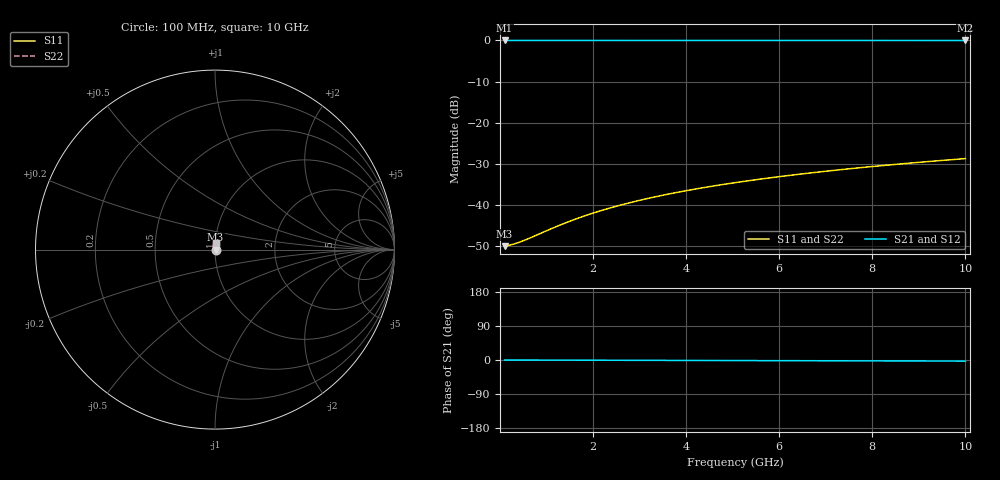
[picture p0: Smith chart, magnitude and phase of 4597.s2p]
# Hz S RI R 50.00
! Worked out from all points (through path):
!   100 points, 100 MHz to 10 GHz, reference 50 ohm
!   highest |S21| = -0.03 dB at 100 MHz (marker M1); lowest = 0.0 dB at 10 GHz (marker M2)
!   lowest |S11| = -49.9 dB at 100 MHz (marker M3), VSWR 1.01, Z = 50.3 + j0.0366 ohm
!   |S11| at or under -10 dB: start of sweep to end of sweep
!   |S22| runs from -49.9 to -28.7 dB; largest |S21 - S12| = 0
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1e8  0.00316 0.000364  0.9968 -0.000506  0.9968 -0.000506  0.00316 0.000364
2e8  0.00318 0.000727  0.9968 -0.00101  0.9968 -0.00101  0.00318 0.000727
3e8  0.0032 0.00109  0.9968 -0.00152  0.9968 -0.00152  0.0032 0.00109
4e8  0.00321 0.00145  0.9968 -0.00202  0.9968 -0.00202  0.00321 0.00145
5e8  0.00323 0.00182  0.9968 -0.00253  0.9968 -0.00253  0.00323 0.00182
1.3e9  0.00331 0.00472  0.9967 -0.00657  0.9967 -0.00657  0.00331 0.00472
1.5e9  0.00333 0.00545  0.9967 -0.00758  0.9967 -0.00758  0.00333 0.00545
1.8e9  0.00336 0.00654  0.9966 -0.0091  0.9966 -0.0091  0.00336 0.00654
2.1e9  0.00339 0.00763  0.9966 -0.0106  0.9966 -0.0106  0.00339 0.00763
2.5e9  0.00344 0.00909  0.9965 -0.0126  0.9965 -0.0126  0.00344 0.00909
2.9e9  0.00349 0.0105  0.9965 -0.0147  0.9965 -0.0147  0.00349 0.0105
3.4e9  0.00357 0.0124  0.9964 -0.0172  0.9964 -0.0172  0.00357 0.0124
3.8e9  0.00363 0.0138  0.9964 -0.0192  0.9964 -0.0192  0.00363 0.0138
4.2e9  0.0037 0.0153  0.9963 -0.0212  0.9963 -0.0212  0.0037 0.0153
4.6e9  0.00377 0.0167  0.9962 -0.0233  0.9962 -0.0233  0.00377 0.0167
5.1e9  0.00387 0.0185  0.9961 -0.0258  0.9961 -0.0258  0.00387 0.0185
5.9e9  0.00405 0.0214  0.9959 -0.0298  0.9959 -0.0298  0.00405 0.0214
6.7e9  0.00426 0.0244  0.9957 -0.0339  0.9957 -0.0339  0.00426 0.0244
7.5e9  0.00449 0.0273  0.9954 -0.038  0.9954 -0.038  0.00449 0.0273
8.4e9  0.00477 0.0305  0.9951 -0.0425  0.9951 -0.0425  0.00477 0.0305
9.2e9  0.00505 0.0335  0.9949 -0.0466  0.9949 -0.0466  0.00505 0.0335
1e10  0.00535 0.0364  0.9945 -0.0506  0.9945 -0.0506  0.00535 0.0364
